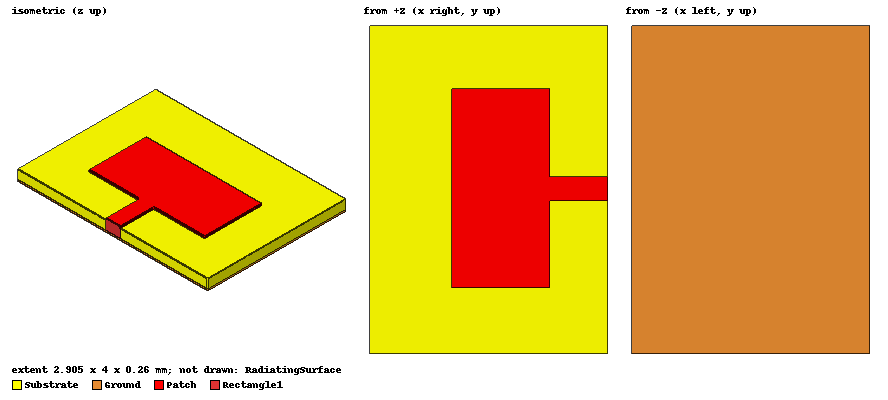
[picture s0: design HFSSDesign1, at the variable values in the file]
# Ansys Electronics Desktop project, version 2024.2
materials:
  vacuum: permittivity=1
  copper: permeability=0.999991 conductivity=58000000
  Rogers RT/duroid 5880 (tm): permittivity=2.2 dielectric_loss_tangent=0.0009

design HFSSDesign1 (HFSS, HFSS Terminal Network, model units mm)
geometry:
  Ground [copper] = box(corner=(0mm, 0mm, 0mm), size=(2.905mm, 4mm, 0.035mm))
  Substrate [Rogers RT/duroid 5880 (tm)] = box(corner=(0mm, 0mm, 0.035mm), size=(2.905mm, 4mm, 0.19mm))
  Feedline = box(corner=(1.485mm, 1.86mm, 0.225mm), size=(1.42mm, 0.3mm, 0.035mm))
  Patch [copper] = box(corner=(1mm, 0.8mm, 0.225mm), size=(1.2mm, 2.43mm, 0.035mm))
  Patch.unite(Feedline)
  Rectangle1 = rectangle(corner=(2.905mm, 1.86mm, 0.26mm), y_size=0.3mm, z_size=-0.225mm)
  RadiatingSurface [vacuum] = region(absolute_offset=1.2987013mm on all sides)
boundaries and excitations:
  Open1: Radiation Objects=RadiatingSurface
  1: Lumped Port Objects=Rectangle1 LumpedPortType=Modal Modes{Mode1{IntLine{(2.905, 2.01, 0.035) -> (2.905, 2.01, 0.26)} CharImp=Zpi}} Impedance=50ohm
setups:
  Setup1: HfssDriven MultipleAdaptiveFreqsSetup{Low=60GHz High=80GHz} MaxDeltaS=0.02 MaximumPasses=6 MinimumPasses=1 MinimumConvergedPasses=1 PercentRefinement=30 BasisOrder=1 PortAccuracy=2 DrivenSolverType="Direct Solver"
    sweep Sweep: 60GHz to 80GHz step 0.05GHz; Type=Interpolating InterpTolerance=0.5 InterpMaxSolns=250 PassivityErrorTolerance=0.0001
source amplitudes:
  1:1: 1V 0deg
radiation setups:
  3D: Infinite Sphere Theta=0deg..360deg step 2deg Phi=0deg..360deg step 2deg
  Elevation: Infinite Sphere Theta=0deg..360deg step 1deg Phi=90deg..90deg step 0deg
  Azimuth: Infinite Sphere Theta=0deg..360deg step 10deg Phi=0deg..0deg step 1deg
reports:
  S Parameter Plot 1: dB(S(1,1)) vs Freq on Setup1 : Sweep
  S Parameter Plot 2: dB(S(1,1)) vs Freq on Setup1 : Sweep; markers m1 at 77.35GHz, m2 at 71.75GHz
  Terminal S Parameter Plot 1:
  S Parameter Plot 3:
  Gain Plot 1: dB(GainTotal) vs Phi, Theta on Setup1 : LastAdaptive, 3D [Freq=70GHz]
  Gain Plot 3: dB(GainTheta) vs Theta on Setup1 : LastAdaptive, Azimuth [Phi=all Freq=70GHz]
  Gain Plot 4: dB(GainPhi) vs Theta on Setup1 : LastAdaptive, Elevation [Phi=all Freq=70GHz]
